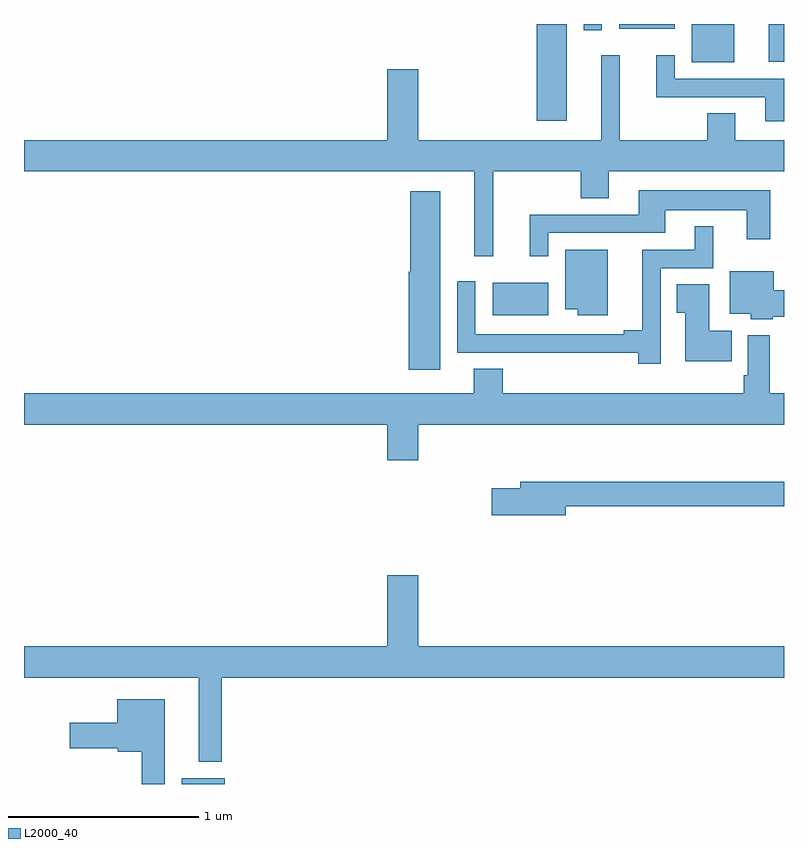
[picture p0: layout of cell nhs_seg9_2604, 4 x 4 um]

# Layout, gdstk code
import gdstk
lib = gdstk.Library(unit=1e-6, precision=1e-09)
def R(c, l, rs):  # rectangles x0, y0, x1, y1
    for r in rs: c.add(gdstk.rectangle(r[:2], r[2:], *l))
def P(c, l, *ps):  # polygons
    for p in ps: c.add(gdstk.Polygon(p, *l))
L2000_40 = (2000, 40)

nhs_seg9_2604 = lib.new_cell('nhs_seg9_2604')
R(nhs_seg9_2604, L2000_40, [(259.829,1222.5,260.056,1222.531), (261.467,1224.968,261.76,1225.138), (261.698,1225.992,261.856,1226.5), (262.514,1226.3,262.738,1226.5), (262.919,1226.301,263,1226.5), (261.945,1226.466,262.041,1226.5), (262.133,1226.474,262.426,1226.5)])
P(nhs_seg9_2604, L2000_40, [(261.47,1225.724),(261.931,1225.724),(261.931,1225.582),(262.078,1225.582),(262.078,1225.724),(263,1225.724),(263,1225.888),(262.744,1225.888),(262.744,1226.03),(262.597,1226.03),(262.597,1225.888),(262.136,1225.888),(262.136,1226.335),(262.037,1226.335),(262.037,1225.888),(261.076,1225.888),(261.076,1226.263),(260.912,1226.263),(260.912,1225.888),(259,1225.888),(259,1225.724),(261.371,1225.724),(261.371,1225.278),(261.47,1225.278)],
  [(263,1226.211),(262.425,1226.211),(262.425,1226.335),(262.328,1226.335),(262.328,1226.115),(262.901,1226.115),(262.901,1225.988),(263,1225.988)],
  [(261.759,1225.401),(262.375,1225.401),(262.375,1225.52),(262.805,1225.52),(262.805,1225.368),(262.927,1225.368),(262.927,1225.624),(262.235,1225.624),(262.235,1225.497),(261.662,1225.497),(261.662,1225.278),(261.759,1225.278)],
  [(261.19,1225.621),(261.032,1225.621),(261.032,1225.197),(261.026,1225.197),(261.026,1224.681),(261.19,1224.681)],
  [(262.35,1225.215),(262.627,1225.215),(262.627,1225.435),(262.529,1225.435),(262.529,1225.311),(262.253,1225.311),(262.253,1224.887),(262.157,1224.887),(262.157,1224.867),(261.375,1224.867),(261.375,1225.147),(261.279,1225.147),(261.279,1224.771),(261.604,1224.771),(261.604,1224.77),(262.234,1224.77),(262.234,1224.711),(262.35,1224.711)],
  [(262.072,1225.312),(261.848,1225.312),(261.848,1224.998),(261.914,1224.998),(261.914,1224.968),(262.072,1224.968)],
  [(262.941,1224.958),(263,1224.958),(263,1225.1),(262.945,1225.1),(262.945,1225.198),(262.715,1225.198),(262.715,1224.974),(262.824,1224.974),(262.824,1224.947),(262.941,1224.947)],
  [(262.724,1224.886),(262.606,1224.886),(262.606,1225.13),(262.435,1225.13),(262.435,1224.979),(262.481,1224.979),(262.481,1224.725),(262.724,1224.725)],
  [(261.076,1224.392),(263,1224.392),(263,1224.556),(262.925,1224.556),(262.925,1224.862),(262.809,1224.862),(262.809,1224.652),(262.789,1224.652),(262.789,1224.556),(261.521,1224.556),(261.521,1224.686),(261.368,1224.686),(261.368,1224.556),(259,1224.556),(259,1224.392),(260.912,1224.392),(260.912,1224.204),(261.076,1224.204)],
  [(261.85,1223.962),(263,1223.962),(263,1224.091),(261.611,1224.091),(261.611,1224.057),(261.462,1224.057),(261.462,1223.915),(261.85,1223.915)],
  [(260.041,1223.06),(263,1223.06),(263,1223.224),(261.076,1223.224),(261.076,1223.599),(260.912,1223.599),(260.912,1223.224),(259,1223.224),(259,1223.06),(259.919,1223.06),(259.919,1222.616),(260.041,1222.616)],
  [(259.741,1222.945),(259.49,1222.945),(259.49,1222.822),(259.242,1222.822),(259.242,1222.688),(259.494,1222.688),(259.494,1222.67),(259.62,1222.67),(259.62,1222.5),(259.741,1222.5)])

lib.write_gds('nhs_seg9_2604.gds')
